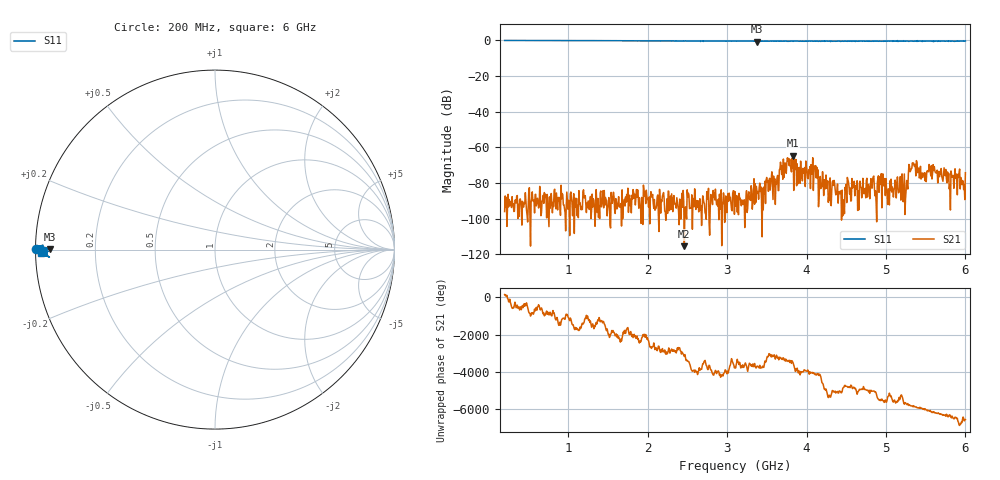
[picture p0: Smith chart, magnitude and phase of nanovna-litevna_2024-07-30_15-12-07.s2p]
! NanoVNA-App by OneOfEleven et al v1.1.209 (+OD15)
! Date: 2024-07-30 15:12:10
! Start: 200MHz Stop: 6GHz Points: 801
! S-Parameter data: F S11 S21 S12 S22
# Hz S RI R 50
!  Frequency  S11_Real  S11_Imag  S21_Real  S21_Imag  S12_Real  S12_Imag  S22_Real  S22_Imag
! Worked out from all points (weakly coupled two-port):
!   801 points, 200 MHz to 6 GHz, reference 50 ohm
!   highest |S21| = -64.69 dB at 3.832 GHz (marker M1); lowest = -115.4 dB at 2.462 GHz (marker M2)
!   lowest |S11| = -0.7 dB at 3.376 GHz (marker M3), VSWR 24.42, Z = 2.05 + j0.0206 ohm
!   |S11| at or under -10 dB: nowhere
!   S12 and S22 are empty: the file has one direction only
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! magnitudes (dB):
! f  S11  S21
! 200 MHz  0.0  -96.0
! 1.171 GHz  -0.1  -93.2
! 2.136 GHz  -0.2  -98.2
! 2.462 GHz  -0.3  -115.4
! 3.1 GHz  -0.4  -84.8
! 3.376 GHz  -0.7  -84.4
! 3.622 GHz  -0.5  -80.6
! 3.76 GHz  -0.5  -65.8
! 3.832 GHz  -0.5  -64.7
! 3.919 GHz  -0.4  -80.2
! 4.072 GHz  -0.3  -75.1
! 4.282 GHz  -0.4  -86.4
! 5.036 GHz  -0.3  -83.3
! 5.246 GHz  -0.5  -89.3
! 5.319 GHz  -0.4  -72.1
! 5.362 GHz  -0.4  -70.7
! 5.478 GHz  -0.4  -74.6
! 5.543 GHz  -0.3  -69.6
! 5.79 GHz  -0.5  -74.6
! 5.899 GHz  -0.4  -86.6
! 5.964 GHz  -0.3  -78.6
! 6 GHz  -0.3  -74.2
